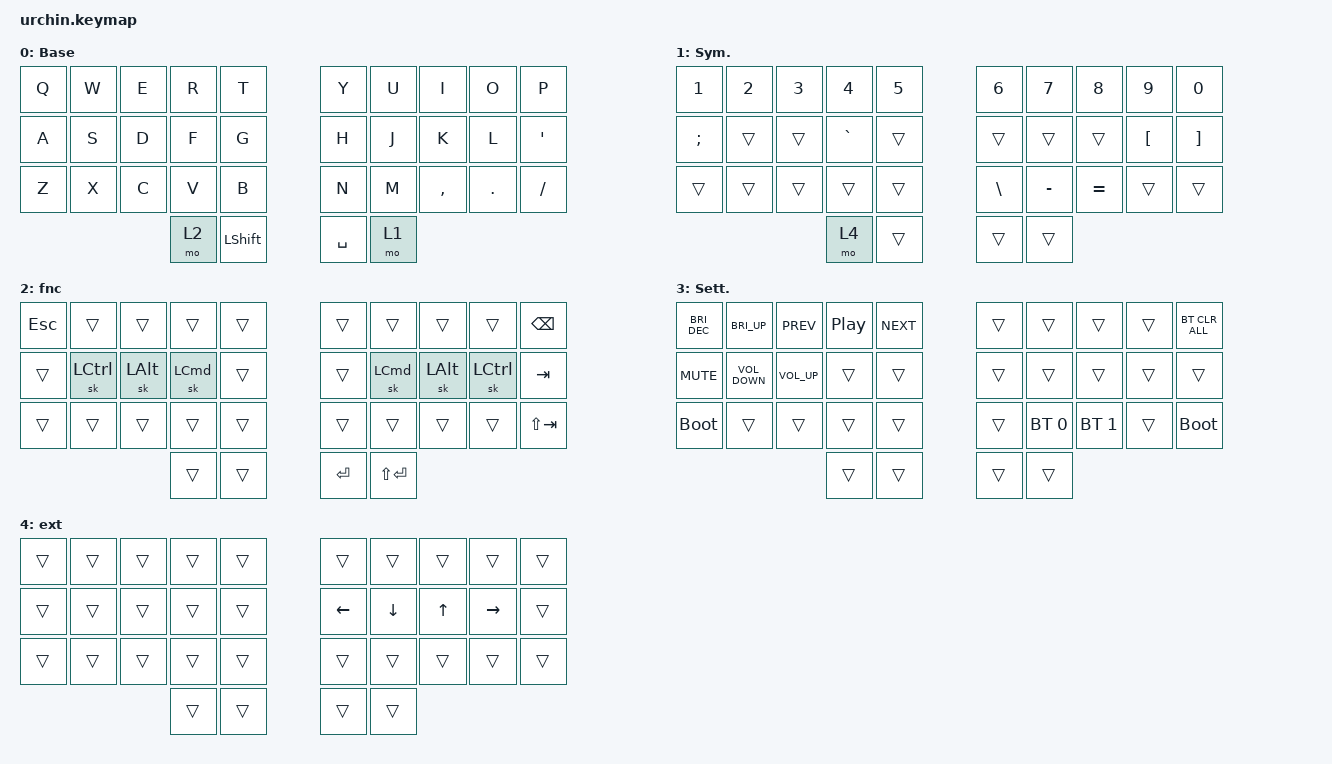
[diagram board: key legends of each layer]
/*
 * Copyright (c) 2020 duckyb
 *
 * SPDX-License-Identifier: MIT
 */

#include <behaviors.dtsi>
#include <dt-bindings/zmk/bt.h>
#include <dt-bindings/zmk/keys.h>

#define HOLD_TAP_TAPPING_TERM 280
#define HOLD_TAP_QUICK_TAP 175
#define PRIOR_IDLE_MS 150

// Layer definitions

#define BASE 0
#define SYM 1
#define EXT 2
#define SETTINGS 3

// -----------------

/ {
    behaviors {
        // Left-hand HRMs
        // Right-hand HRMs
    };

    combos {
        compatible = "zmk,combos";

        settings_layer {
            bindings = <&mo 3>;
            key-positions = <32 33>;
            timeout-ms = <50>;
            require-prior-idle-ms = <PRIOR_IDLE_MS>;
        };
    };

    keymap {
        compatible = "zmk,keymap";

        base_layer {
            label = "Base";
            bindings = <
&kp Q  &kp W  &kp E  &kp R  &kp T           &kp Y      &kp U  &kp I      &kp O    &kp P
&kp A  &kp S  &kp D  &kp F  &kp G           &kp H      &kp J  &kp K      &kp L    &kp SINGLE_QUOTE
&kp Z  &kp X  &kp C  &kp V  &kp B           &kp N      &kp M  &kp COMMA  &kp DOT  &kp SLASH
                     &mo 2  &kp LEFT_SHIFT  &kp SPACE  &mo 1
            >;
        };

        sym_layer {
            label = "Sym.";
            bindings = <
&kp NUMBER_1   &kp NUMBER_2  &kp NUMBER_3  &kp NUMBER_4  &kp N5  &kp N6         &kp N7     &kp NUMBER_8  &kp N9            &kp N0
&kp SEMICOLON  &trans        &trans        &kp GRAVE     &trans  &trans         &trans     &trans        &kp LEFT_BRACKET  &kp RIGHT_BRACKET
&trans         &trans        &trans        &trans        &trans  &kp BACKSLASH  &kp MINUS  &kp EQUAL     &trans            &trans
                                           &mo 4         &trans  &trans         &trans
            >;
        };

        fnc_layer {
            label = "fnc";
            bindings = <
&kp ESCAPE  &trans            &trans        &trans            &trans  &trans     &trans            &trans        &trans            &kp BACKSPACE
&trans      &sk LEFT_CONTROL  &sk LEFT_ALT  &sk LEFT_COMMAND  &trans  &trans     &sk LEFT_COMMAND  &sk LEFT_ALT  &sk LEFT_CONTROL  &kp TAB
&trans      &trans            &trans        &trans            &trans  &trans     &trans            &trans        &trans            &kp LS(TAB)
                                            &trans            &trans  &kp ENTER  &kp LS(ENTER)
            >;
        };

        settings_layer {
            label = "Sett.";
            bindings = <
&kp C_BRIGHTNESS_DEC  &kp C_BRI_UP       &kp C_PREV       &kp C_PLAY_PAUSE  &kp C_NEXT  &trans  &trans        &trans        &trans  &bt BT_CLR_ALL
&kp C_MUTE            &kp C_VOLUME_DOWN  &kp C_VOLUME_UP  &trans            &trans      &trans  &trans        &trans        &trans  &trans
&bootloader           &trans             &trans           &trans            &trans      &trans  &bt BT_SEL 0  &bt BT_SEL 1  &trans  &bootloader
                                                          &trans            &trans      &trans  &trans
            >;
        };

        ext_layer {
            bindings = <
&trans  &trans  &trans  &trans  &trans  &trans    &trans          &trans        &trans     &trans
&trans  &trans  &trans  &trans  &trans  &kp LEFT  &kp DOWN_ARROW  &kp UP_ARROW  &kp RIGHT  &trans
&trans  &trans  &trans  &trans  &trans  &trans    &trans          &trans        &trans     &trans
                        &trans  &trans  &trans    &trans
            >;

            label = "ext";
        };
    };
};
